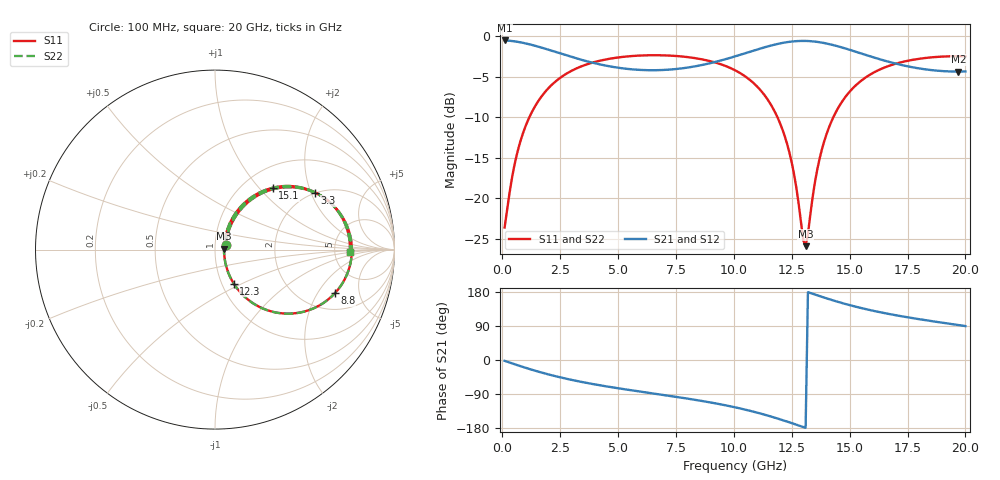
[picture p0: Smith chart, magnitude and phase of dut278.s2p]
! Touchstone file exported from HFSS 2026.1.0
!  File:  C:/ffzhzh/LocalFiles/Ansys_Project_Files/temp_train_TSV_RDL_278_1783085449_37948.aedt
!  Generated:  09:43:04 PM Jul  3, 2026
!  Design:  TSV_RDL
!  Project:  temp_train_TSV_RDL_278_1783085449_37948
! Variables:
!  h_bsmrdl = 2.05um
!  h_ox = 20um
!  h_rdl = 5um
!  h_sub = 50.31um
!  h_tmrdl = 2.69um
!  h_tsv = 50.31um
!  h_via = 3um
!  l_bsmrdl = 236.95um
!  l_sub = 4930.53um
!  l_tmrdl = 939.62um
!  m_sub = 200um
!  pitch = 57.74um
!  r_tsv = 3.99um
!  s_tmrdl = 10um
!  w_bsmrdl = 10.25um
!  w_sub = 500um
!  w_tmrdl = 10.15um
!  x_tsv_center1 = 944.695um
!  x_tsv_center2 = 1191.895um
!  x_tsv_center3 = 2141.665um
!  x_tsv_center4 = 2388.865um
!  x_tsv_center5 = 3338.635um
!  x_tsv_center6 = 3585.835um
# GHz S MA R 50.000000
! Terminal data exported
! Port[1] = TM_RDL1_1_T1
! Port[2] = TM_RDL5_1_T1
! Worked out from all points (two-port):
!   200 points, 100 MHz to 20 GHz, reference 50 ohm
!   highest |S21| = -0.54 dB at 100 MHz (marker M1); lowest = -4.4 dB at 19.7 GHz (marker M2)
!   |S21| within 3 dB of the highest: start of sweep to 4.292 GHz; 8.669 GHz to 17.2 GHz (8.532 GHz wide, 66 % of centre)
!   lowest |S11| = -25.9 dB at 13.1 GHz (marker M3), VSWR 1.11, Z = 55.3 + j0.549 ohm
!   |S11| at or under -10 dB: start of sweep to 1.171 GHz; 11.88 GHz to 14.3 GHz (2.416 GHz wide, 18.5 % of centre)
!   |S22| runs from -26.0 to -2.4 dB; largest |S21 - S12| = 1.5e-14
!   S11 on the Smith chart (normalised r, x): 100 MHz: 1.13, +0.06; 3.3 GHz: 1.99, +2.14; 8.8 GHz: 2.92, -2.87; 12.3 GHz: 1.14, -0.45; 15.1 GHz: 1.34, +1.19; 20 GHz: 7.00, -0.48
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0.1  0.06609 23.8  0.9401 -2.1  0.9401 -2.1  0.06609 23.8
! Gamma 0 0 0 0
! Port Impedance 50 0 50 0
0.6  0.1792 57.7  0.9252 -12.6  0.9252 -12.6  0.1792 57.7
1.2  0.323 55.0  0.8883 -24.3  0.8883 -24.3  0.323 55.0
2.1  0.4949 43.9  0.8155 -39.7  0.8155 -39.7  0.4949 43.9
3.3  0.641 29.6  0.7222 -56.4  0.7222 -56.4  0.641 29.6
3.5  0.6579 27.4  0.7091 -58.8  0.7091 -58.8  0.6579 27.4
5.1  0.7415 12.1  0.6355 -75.5  0.6355 -75.5  0.7416 12.1
6.8  0.762 -2.3  0.6171 -90.9  0.6171 -90.9  0.762 -2.3
8.8  0.7105 -20.0  0.6718 -110.0  0.6718 -110.0  0.7106 -20.0
10.1  0.6108 -34.2  0.7534 -125.5  0.7534 -125.5  0.6108 -34.2
11.4  0.4181 -51.2  0.8588 -145.5  0.8588 -145.5  0.4181 -51.3
12.3  0.2164 -61.1  0.9178 -162.5  0.9178 -162.5  0.2163 -61.2
12.6  0.1409 -59.5  0.9288 -168.6  0.9288 -168.6  0.1408 -59.7
13  0.05508 -22.3  0.9343 -176.9  0.9343 -176.9  0.05463 -22.5
13.1  0.05067 5.6  0.9339 -179.0  0.9339 -179.0  0.05015 5.6
13.4  0.101 53.6  0.9284 174.8  0.9284 174.8  0.1007 53.9
13.7  0.1747 60.9  0.9171 168.7  0.9171 168.7  0.1745 61.0
14.1  0.2714 59.4  0.8942 160.8  0.8942 160.8  0.2713 59.5
15.1  0.4707 47.0  0.8152 143.2  0.8152 143.2  0.4706 47.1
16.7  0.6555 28.0  0.6937 121.5  0.6937 121.5  0.6555 28.0
19.7  0.752 1.3  0.6045 92.2  0.6045 92.2  0.752 1.3
20  0.7511 -1.1  0.6056 89.5  0.6056 89.5  0.7511 -1.1
